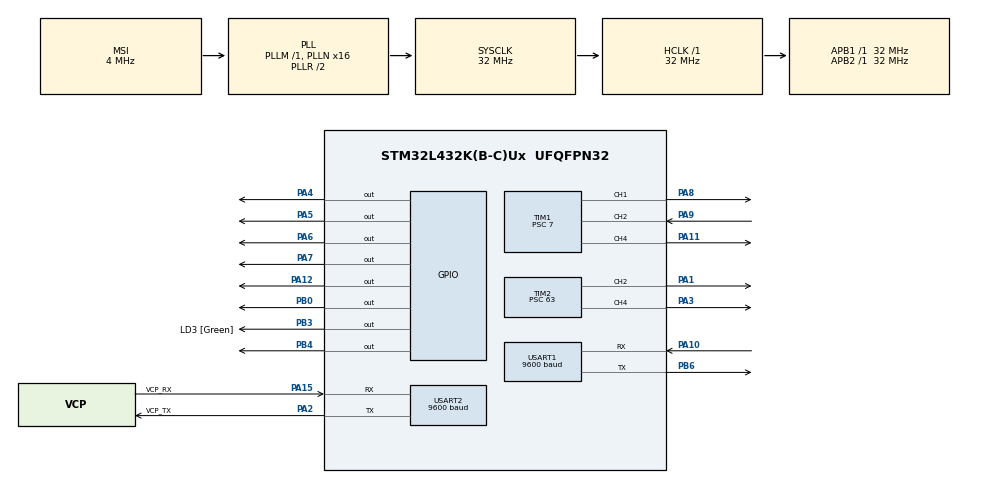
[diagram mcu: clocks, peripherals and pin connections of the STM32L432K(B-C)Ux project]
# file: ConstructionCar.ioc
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Mcu.Family=STM32L4
Mcu.Name=STM32L432K(B-C)Ux
Mcu.Package=UFQFPN32
NVIC.PriorityGroup=NVIC_PRIORITYGROUP_4
NVIC.TIM1_CC_IRQn=true\:0\:0\:false\:false\:true\:true\:true\:true
NVIC.USART1_IRQn=true\:0\:0\:false\:false\:true\:true\:true\:true
NVIC.USART2_IRQn=true\:0\:0\:false\:false\:true\:true\:true\:true
PA0.GPIO_Label=MCO [High speed clock in]
PA0.Mode=HSE-External-Clock-Source-for-LittleOrca
PA0.Signal=RCC_CK_IN
PA1.Signal=S_TIM2_CH2
PA10.Mode=Asynchronous
PA10.Signal=USART1_RX
PA11.Signal=S_TIM1_CH4
PA12.Signal=GPIO_Output
PA13\ (JTMS-SWDIO).GPIO_Label=SWDIO
PA13\ (JTMS-SWDIO).Mode=Serial_Wire
PA13\ (JTMS-SWDIO).Signal=SYS_JTMS-SWDIO
PA14\ (JTCK-SWCLK).GPIO_Label=SWCLK
PA14\ (JTCK-SWCLK).Mode=Serial_Wire
PA14\ (JTCK-SWCLK).Signal=SYS_JTCK-SWCLK
PA15\ (JTDI).GPIO_Label=VCP_RX
PA15\ (JTDI).Mode=Asynchronous
PA15\ (JTDI).Signal=USART2_RX
PA2.GPIO_Label=VCP_TX
PA2.Mode=Asynchronous
PA2.Signal=USART2_TX
PA3.Signal=S_TIM2_CH4
PA4.Signal=GPIO_Output
PA5.Signal=GPIO_Output
PA6.Signal=GPIO_Output
PA7.Signal=GPIO_Output
PA8.Signal=S_TIM1_CH1
PA9.Signal=S_TIM1_CH2
PB0.Signal=GPIO_Output
PB3\ (JTDO-TRACESWO).GPIO_Label=LD3 [Green]
PB3\ (JTDO-TRACESWO).Signal=GPIO_Output
PB4\ (NJTRST).Signal=GPIO_Output
PB6.Mode=Asynchronous
PB6.Signal=USART1_TX
PC14-OSC32_IN\ (PC14).Mode=LSE-External-Oscillator
PC14-OSC32_IN\ (PC14).Signal=RCC_OSC32_IN
PC15-OSC32_OUT\ (PC15).Mode=LSE-External-Oscillator
PC15-OSC32_OUT\ (PC15).Signal=RCC_OSC32_OUT
ProjectManager.HeapSize=0x200
ProjectManager.StackSize=0x400
ProjectManager.TargetToolchain=MDK-ARM V5.32
RCC.AHBFreq_Value=32000000
RCC.APB1Freq_Value=32000000
RCC.APB1TimFreq_Value=32000000
RCC.APB2Freq_Value=32000000
RCC.APB2TimFreq_Value=32000000
RCC.CortexFreq_Value=32000000
RCC.HCLKFreq_Value=32000000
RCC.HSE_VALUE=8000000
RCC.HSI16_VALUE=16000000
RCC.HSI48_VALUE=48000000
RCC.HSI_VALUE=16000000
RCC.MSI_VALUE=4000000
RCC.PLLMUL=RCC_PLLMUL_4
RCC.PLLN=16
RCC.SYSCLKFreq_VALUE=32000000
RCC.SYSCLKSource=RCC_SYSCLKSOURCE_PLLCLK
RCC.VCOOutputFreq_Value=64000000
SH.S_TIM1_CH1.0=TIM1_CH1,PWM Generation1 CH1
SH.S_TIM1_CH2.0=TIM1_CH2,Input_Capture2_from_TI2
SH.S_TIM1_CH4.0=TIM1_CH4,PWM Generation4 CH4
SH.S_TIM2_CH2.0=TIM2_CH2,PWM Generation2 CH2
SH.S_TIM2_CH4.0=TIM2_CH4,PWM Generation4 CH4
TIM1.Channel-Input_Capture2_from_TI2=TIM_CHANNEL_2
TIM1.Channel-PWM\ Generation1\ CH1=TIM_CHANNEL_1
TIM1.Channel-PWM\ Generation4\ CH4=TIM_CHANNEL_4
TIM1.Prescaler=7
TIM2.Channel-PWM\ Generation2\ CH2=TIM_CHANNEL_2
TIM2.Channel-PWM\ Generation4\ CH4=TIM_CHANNEL_4
TIM2.Period=10000-1
TIM2.Prescaler=63
USART1.BaudRate=9600
USART1.VirtualMode-Asynchronous=VM_ASYNC
USART2.BaudRate=9600
USART2.VirtualMode-Asynchronous=VM_ASYNC
VP_TIM1_VS_ClockSourceINT.Mode=Internal
VP_TIM2_VS_ClockSourceINT.Mode=Internal
board=NUCLEO-L432KC

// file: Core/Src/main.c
/* USER CODE BEGIN Header */
/**
  ******************************************************************************
  * @file           : main.c
  * @brief          : Main program body
  ******************************************************************************
  * @attention
  *
  * Copyright (c) 2024 STMicroelectronics.
  * All rights reserved.
  *
  * This software is licensed under terms that can be found in the LICENSE file
  * in the root directory of this software component.
  * If no LICENSE file comes with this software, it is provided AS-IS.
  *
  ******************************************************************************
  */
/* USER CODE END Header */
#include "main.h"

TIM_HandleTypeDef htim1;
TIM_HandleTypeDef htim2;

UART_HandleTypeDef huart1;
UART_HandleTypeDef huart2;

/* USER CODE BEGIN PV */
uint8_t direction = 'x';
uint8_t honk = 0;
volatile uint8_t flag =0;
 uint8_t claw;
 volatile uint8_t claw_flag;
/* USER CODE END PV */

void SystemClock_Config(void);
static void MX_GPIO_Init(void);
static void MX_TIM1_Init(void);
static void MX_TIM2_Init(void);
static void MX_USART1_UART_Init(void);
static void MX_USART2_UART_Init(void);
/* USER CODE BEGIN PFP */
void delay_micro (int time)
{
	__HAL_TIM_SET_COUNTER(&htim1,0);
	while (__HAL_TIM_GET_COUNTER(&htim1) < time);
}
/* USER CODE END PFP */

/* USER CODE BEGIN 0 */

void moveLeft(){
	HAL_GPIO_WritePin(GPIOA,GPIO_PIN_12,GPIO_PIN_SET);
	HAL_GPIO_WritePin(GPIOB,GPIO_PIN_0,GPIO_PIN_RESET);
	//we can also stop tim channel 4 instead of these bottom 2
	HAL_GPIO_WritePin(GPIOA,GPIO_PIN_4,GPIO_PIN_RESET);
	HAL_GPIO_WritePin(GPIOA,GPIO_PIN_5,GPIO_PIN_RESET);
}

void moveRight(){
	HAL_GPIO_WritePin(GPIOA,GPIO_PIN_12,GPIO_PIN_RESET);
	HAL_GPIO_WritePin(GPIOB,GPIO_PIN_0,GPIO_PIN_RESET);
	//we can also stop tim channel 1 instead of resetting these top 2
	HAL_GPIO_WritePin(GPIOA,GPIO_PIN_4,GPIO_PIN_SET);
	HAL_GPIO_WritePin(GPIOA,GPIO_PIN_5,GPIO_PIN_RESET);
}

void moveForward(){
	HAL_GPIO_WritePin(GPIOA,GPIO_PIN_12,GPIO_PIN_SET);
	HAL_GPIO_WritePin(GPIOB,GPIO_PIN_0,GPIO_PIN_RESET);
	HAL_GPIO_WritePin(GPIOA,GPIO_PIN_4,GPIO_PIN_SET);
	HAL_GPIO_WritePin(GPIOA,GPIO_PIN_5,GPIO_PIN_RESET);
}

void moveBackward(){
	HAL_GPIO_WritePin(GPIOA,GPIO_PIN_12,GPIO_PIN_RESET);
	HAL_GPIO_WritePin(GPIOB,GPIO_PIN_0,GPIO_PIN_SET);
	HAL_GPIO_WritePin(GPIOA,GPIO_PIN_4,GPIO_PIN_RESET);
	HAL_GPIO_WritePin(GPIOA,GPIO_PIN_5,GPIO_PIN_SET);
}

void moveStop(){ //we can also stop pwm instead if we want
	HAL_GPIO_WritePin(GPIOA,GPIO_PIN_12,GPIO_PIN_RESET);
	HAL_GPIO_WritePin(GPIOB,GPIO_PIN_0,GPIO_PIN_RESET);
	HAL_GPIO_WritePin(GPIOA,GPIO_PIN_4,GPIO_PIN_RESET);
	HAL_GPIO_WritePin(GPIOA,GPIO_PIN_5,GPIO_PIN_RESET);
}

void closeClaw(){
	__HAL_TIM_SET_COMPARE(&htim2, TIM_CHANNEL_2, 250);
	HAL_Delay(500);
}

void openClaw(){
	__HAL_TIM_SET_COMPARE(&htim2, TIM_CHANNEL_2, 1250);
		HAL_Delay(500);

}

void upClaw(){

	__HAL_TIM_SET_COMPARE(&htim2, TIM_CHANNEL_4, 1000);
		HAL_Delay(500);

}

void downClaw(){
	__HAL_TIM_SET_COMPARE(&htim2, TIM_CHANNEL_4, 745);
		HAL_Delay(500);

}

/* USER CODE END 0 */

int main(void)
{

  /* MCU Configuration--------------------------------------------------------*/

  /* Reset of all peripherals, Initializes the Flash interface and the Systick. */
  HAL_Init();

  /* Configure the system clock */
  SystemClock_Config();

  /* Initialize all configured peripherals */
  MX_GPIO_Init();
  MX_TIM1_Init();
  MX_TIM2_Init();
  MX_USART1_UART_Init();
  MX_USART2_UART_Init();
  /* USER CODE BEGIN 2 */
		HAL_TIM_PWM_Start(&htim1, TIM_CHANNEL_1);
		HAL_TIM_PWM_Start(&htim2, TIM_CHANNEL_2);
		HAL_TIM_PWM_Start(&htim2, TIM_CHANNEL_4);
  __HAL_TIM_SET_COMPARE(&htim1, TIM_CHANNEL_1, 65535); //100% duty cycle (full motor power)
	HAL_TIM_PWM_Start(&htim1, TIM_CHANNEL_4);
  __HAL_TIM_SET_COMPARE(&htim1, TIM_CHANNEL_4, 65535); //100% duty cycle (full motor power)
	__HAL_UART_ENABLE_IT(&huart1,UART_IT_RXNE);
	__HAL_UART_ENABLE_IT(&huart2,UART_IT_RXNE);
	__HAL_TIM_SET_CAPTUREPOLARITY(&htim1, TIM_CHANNEL_2, TIM_INPUTCHANNELPOLARITY_RISING);
	HAL_TIM_Base_Start(&htim1);
	HAL_GPIO_WritePin(GPIOA, GPIO_PIN_11,GPIO_PIN_RESET);
	__HAL_TIM_SET_CAPTUREPOLARITY(&htim1, TIM_CHANNEL_2, TIM_INPUTCHANNELPOLARITY_RISING);

  /* USER CODE END 2 */

  /* Infinite loop */
  /* USER CODE BEGIN WHILE */
  while (1)
  {
		if(honk){
			HAL_GPIO_WritePin(GPIOB, GPIO_PIN_3, GPIO_PIN_SET);
						HAL_GPIO_WritePin(GPIOA, GPIO_PIN_6, GPIO_PIN_SET);

		}
		else{
					HAL_GPIO_WritePin(GPIOB, GPIO_PIN_3, GPIO_PIN_RESET);
					HAL_GPIO_WritePin(GPIOA, GPIO_PIN_6, GPIO_PIN_RESET);

		}
		delay_micro(1);
		HAL_GPIO_WritePin(GPIOB, GPIO_PIN_4, GPIO_PIN_SET);
		delay_micro(10);
		HAL_GPIO_TogglePin(GPIOB, GPIO_PIN_4);
		HAL_TIM_IC_Start_IT(&htim1, TIM_CHANNEL_2);
		HAL_Delay(10);

		if(flag){ //on rxne interrupt
			flag = 0;
			moveStop();
			HAL_Delay(100);
			switch(direction){
				case 'f':
					moveForward();
					break;
				case 'b':
					moveBackward();

					break;
				case 'l':
					moveLeft();

					break;
				case 'r':
					moveRight();

					break;
				case 's':
					//moveStop(); we already stopped so no real need for this
					break;
			}
		}
		if(claw_flag){
			switch(direction){
				case 'u':
					upClaw();
					break;
				case 'd':
					downClaw();
					break;
				case 'o':
					openClaw();
					break;
				case 'c':
					closeClaw();
					break;
				case 's':
					//moveStop(); we already stopped so no real need for this
					break;
			}
			claw_flag =0;
		}
    /* USER CODE END WHILE */

  }
}

void SystemClock_Config(void)
{
  RCC_OscInitTypeDef RCC_OscInitStruct = {0};
  RCC_ClkInitTypeDef RCC_ClkInitStruct = {0};

  /** Configure the main internal regulator output voltage
  */
  if (HAL_PWREx_ControlVoltageScaling(PWR_REGULATOR_VOLTAGE_SCALE1) != HAL_OK)
  {
    Error_Handler();
  }

  /** Configure LSE Drive Capability
  */
  HAL_PWR_EnableBkUpAccess();
  __HAL_RCC_LSEDRIVE_CONFIG(RCC_LSEDRIVE_LOW);

  /** Initializes the RCC Oscillators according to the specified parameters
  * in the RCC_OscInitTypeDef structure.
  */
  RCC_OscInitStruct.OscillatorType = RCC_OSCILLATORTYPE_LSE|RCC_OSCILLATORTYPE_MSI;
  RCC_OscInitStruct.LSEState = RCC_LSE_ON;
  RCC_OscInitStruct.MSIState = RCC_MSI_ON;
  RCC_OscInitStruct.MSICalibrationValue = 0;
  RCC_OscInitStruct.MSIClockRange = RCC_MSIRANGE_6;
  RCC_OscInitStruct.PLL.PLLState = RCC_PLL_ON;
  RCC_OscInitStruct.PLL.PLLSource = RCC_PLLSOURCE_MSI;
  RCC_OscInitStruct.PLL.PLLM = 1;
  RCC_OscInitStruct.PLL.PLLN = 16;
  RCC_OscInitStruct.PLL.PLLP = RCC_PLLP_DIV7;
  RCC_OscInitStruct.PLL.PLLQ = RCC_PLLQ_DIV2;
  RCC_OscInitStruct.PLL.PLLR = RCC_PLLR_DIV2;
  if (HAL_RCC_OscConfig(&RCC_OscInitStruct) != HAL_OK)
  {
    Error_Handler();
  }

  /** Initializes the CPU, AHB and APB buses clocks
  */
  RCC_ClkInitStruct.ClockType = RCC_CLOCKTYPE_HCLK|RCC_CLOCKTYPE_SYSCLK
                              |RCC_CLOCKTYPE_PCLK1|RCC_CLOCKTYPE_PCLK2;
  RCC_ClkInitStruct.SYSCLKSource = RCC_SYSCLKSOURCE_PLLCLK;
  RCC_ClkInitStruct.AHBCLKDivider = RCC_SYSCLK_DIV1;
  RCC_ClkInitStruct.APB1CLKDivider = RCC_HCLK_DIV1;
  RCC_ClkInitStruct.APB2CLKDivider = RCC_HCLK_DIV1;

  if (HAL_RCC_ClockConfig(&RCC_ClkInitStruct, FLASH_LATENCY_1) != HAL_OK)
  {
    Error_Handler();
  }

  /** Enable MSI Auto calibration
  */
  HAL_RCCEx_EnableMSIPLLMode();
}

static void MX_TIM1_Init(void)
{

  TIM_ClockConfigTypeDef sClockSourceConfig = {0};
  TIM_MasterConfigTypeDef sMasterConfig = {0};
  TIM_OC_InitTypeDef sConfigOC = {0};
  TIM_IC_InitTypeDef sConfigIC = {0};
  TIM_BreakDeadTimeConfigTypeDef sBreakDeadTimeConfig = {0};

  htim1.Instance = TIM1;
  htim1.Init.Prescaler = 7;
  htim1.Init.CounterMode = TIM_COUNTERMODE_UP;
  htim1.Init.Period = 65535;
  htim1.Init.ClockDivision = TIM_CLOCKDIVISION_DIV1;
  htim1.Init.RepetitionCounter = 0;
  htim1.Init.AutoReloadPreload = TIM_AUTORELOAD_PRELOAD_DISABLE;
  if (HAL_TIM_Base_Init(&htim1) != HAL_OK)
  {
    Error_Handler();
  }
  sClockSourceConfig.ClockSource = TIM_CLOCKSOURCE_INTERNAL;
  if (HAL_TIM_ConfigClockSource(&htim1, &sClockSourceConfig) != HAL_OK)
  {
    Error_Handler();
  }
  if (HAL_TIM_PWM_Init(&htim1) != HAL_OK)
  {
    Error_Handler();
  }
  if (HAL_TIM_IC_Init(&htim1) != HAL_OK)
  {
    Error_Handler();
  }
  sMasterConfig.MasterOutputTrigger = TIM_TRGO_RESET;
  sMasterConfig.MasterOutputTrigger2 = TIM_TRGO2_RESET;
  sMasterConfig.MasterSlaveMode = TIM_MASTERSLAVEMODE_DISABLE;
  if (HAL_TIMEx_MasterConfigSynchronization(&htim1, &sMasterConfig) != HAL_OK)
  {
    Error_Handler();
  }
  sConfigOC.OCMode = TIM_OCMODE_PWM1;
  sConfigOC.Pulse = 0;
  sConfigOC.OCPolarity = TIM_OCPOLARITY_HIGH;
  sConfigOC.OCNPolarity = TIM_OCNPOLARITY_HIGH;
  sConfigOC.OCFastMode = TIM_OCFAST_DISABLE;
  sConfigOC.OCIdleState = TIM_OCIDLESTATE_RESET;
  sConfigOC.OCNIdleState = TIM_OCNIDLESTATE_RESET;
  if (HAL_TIM_PWM_ConfigChannel(&htim1, &sConfigOC, TIM_CHANNEL_1) != HAL_OK)
  {
    Error_Handler();
  }
  sConfigIC.ICPolarity = TIM_INPUTCHANNELPOLARITY_RISING;
  sConfigIC.ICSelection = TIM_ICSELECTION_DIRECTTI;
  sConfigIC.ICPrescaler = TIM_ICPSC_DIV1;
  sConfigIC.ICFilter = 0;
  if (HAL_TIM_IC_ConfigChannel(&htim1, &sConfigIC, TIM_CHANNEL_2) != HAL_OK)
  {
    Error_Handler();
  }
  if (HAL_TIM_PWM_ConfigChannel(&htim1, &sConfigOC, TIM_CHANNEL_4) != HAL_OK)
  {
    Error_Handler();
  }
  sBreakDeadTimeConfig.OffStateRunMode = TIM_OSSR_DISABLE;
  sBreakDeadTimeConfig.OffStateIDLEMode = TIM_OSSI_DISABLE;
  sBreakDeadTimeConfig.LockLevel = TIM_LOCKLEVEL_OFF;
  sBreakDeadTimeConfig.DeadTime = 0;
  sBreakDeadTimeConfig.BreakState = TIM_BREAK_DISABLE;
  sBreakDeadTimeConfig.BreakPolarity = TIM_BREAKPOLARITY_HIGH;
  sBreakDeadTimeConfig.BreakFilter = 0;
  sBreakDeadTimeConfig.Break2State = TIM_BREAK2_DISABLE;
  sBreakDeadTimeConfig.Break2Polarity = TIM_BREAK2POLARITY_HIGH;
  sBreakDeadTimeConfig.Break2Filter = 0;
  sBreakDeadTimeConfig.AutomaticOutput = TIM_AUTOMATICOUTPUT_DISABLE;
  if (HAL_TIMEx_ConfigBreakDeadTime(&htim1, &sBreakDeadTimeConfig) != HAL_OK)
  {
    Error_Handler();
  }
  HAL_TIM_MspPostInit(&htim1);

}

static void MX_TIM2_Init(void)
{

  TIM_ClockConfigTypeDef sClockSourceConfig = {0};
  TIM_MasterConfigTypeDef sMasterConfig = {0};
  TIM_OC_InitTypeDef sConfigOC = {0};

  htim2.Instance = TIM2;
  htim2.Init.Prescaler = 63;
  htim2.Init.CounterMode = TIM_COUNTERMODE_UP;
  htim2.Init.Period = 10000-1;
  htim2.Init.ClockDivision = TIM_CLOCKDIVISION_DIV1;
  htim2.Init.AutoReloadPreload = TIM_AUTORELOAD_PRELOAD_DISABLE;
  if (HAL_TIM_Base_Init(&htim2) != HAL_OK)
  {
    Error_Handler();
  }
  sClockSourceConfig.ClockSource = TIM_CLOCKSOURCE_INTERNAL;
  if (HAL_TIM_ConfigClockSource(&htim2, &sClockSourceConfig) != HAL_OK)
  {
    Error_Handler();
  }
  if (HAL_TIM_PWM_Init(&htim2) != HAL_OK)
  {
    Error_Handler();
  }
  sMasterConfig.MasterOutputTrigger = TIM_TRGO_RESET;
  sMasterConfig.MasterSlaveMode = TIM_MASTERSLAVEMODE_DISABLE;
  if (HAL_TIMEx_MasterConfigSynchronization(&htim2, &sMasterConfig) != HAL_OK)
  {
    Error_Handler();
  }
  sConfigOC.OCMode = TIM_OCMODE_PWM1;
  sConfigOC.Pulse = 0;
  sConfigOC.OCPolarity = TIM_OCPOLARITY_HIGH;
  sConfigOC.OCFastMode = TIM_OCFAST_DISABLE;
  if (HAL_TIM_PWM_ConfigChannel(&htim2, &sConfigOC, TIM_CHANNEL_2) != HAL_OK)
  {
    Error_Handler();
  }
  if (HAL_TIM_PWM_ConfigChannel(&htim2, &sConfigOC, TIM_CHANNEL_4) != HAL_OK)
  {
    Error_Handler();
  }
  HAL_TIM_MspPostInit(&htim2);

}

static void MX_USART1_UART_Init(void)
{

  huart1.Instance = USART1;
  huart1.Init.BaudRate = 9600;
  huart1.Init.WordLength = UART_WORDLENGTH_8B;
  huart1.Init.StopBits = UART_STOPBITS_1;
  huart1.Init.Parity = UART_PARITY_NONE;
  huart1.Init.Mode = UART_MODE_TX_RX;
  huart1.Init.HwFlowCtl = UART_HWCONTROL_NONE;
  huart1.Init.OverSampling = UART_OVERSAMPLING_16;
  huart1.Init.OneBitSampling = UART_ONE_BIT_SAMPLE_DISABLE;
  huart1.AdvancedInit.AdvFeatureInit = UART_ADVFEATURE_NO_INIT;
  if (HAL_UART_Init(&huart1) != HAL_OK)
  {
    Error_Handler();
  }

}

static void MX_USART2_UART_Init(void)
{

  huart2.Instance = USART2;
  huart2.Init.BaudRate = 9600;
  huart2.Init.WordLength = UART_WORDLENGTH_8B;
  huart2.Init.StopBits = UART_STOPBITS_1;
  huart2.Init.Parity = UART_PARITY_NONE;
  huart2.Init.Mode = UART_MODE_TX_RX;
  huart2.Init.HwFlowCtl = UART_HWCONTROL_NONE;
  huart2.Init.OverSampling = UART_OVERSAMPLING_16;
  huart2.Init.OneBitSampling = UART_ONE_BIT_SAMPLE_DISABLE;
  huart2.AdvancedInit.AdvFeatureInit = UART_ADVFEATURE_NO_INIT;
  if (HAL_UART_Init(&huart2) != HAL_OK)
  {
    Error_Handler();
  }

}

static void MX_GPIO_Init(void)
{
  GPIO_InitTypeDef GPIO_InitStruct = {0};

  /* GPIO Ports Clock Enable */
  __HAL_RCC_GPIOC_CLK_ENABLE();
  __HAL_RCC_GPIOA_CLK_ENABLE();
  __HAL_RCC_GPIOB_CLK_ENABLE();

  /*Configure GPIO pin Output Level */
  HAL_GPIO_WritePin(GPIOA, GPIO_PIN_4|GPIO_PIN_5|GPIO_PIN_6|GPIO_PIN_7
                          |GPIO_PIN_12, GPIO_PIN_RESET);

  /*Configure GPIO pin Output Level */
  HAL_GPIO_WritePin(GPIOB, GPIO_PIN_0|LD3_Pin|GPIO_PIN_4, GPIO_PIN_RESET);

  /*Configure GPIO pins : PA4 PA5 PA6 PA7
                           PA12 */
  GPIO_InitStruct.Pin = GPIO_PIN_4|GPIO_PIN_5|GPIO_PIN_6|GPIO_PIN_7
                          |GPIO_PIN_12;
  GPIO_InitStruct.Mode = GPIO_MODE_OUTPUT_PP;
  GPIO_InitStruct.Pull = GPIO_NOPULL;
  GPIO_InitStruct.Speed = GPIO_SPEED_FREQ_LOW;
  HAL_GPIO_Init(GPIOA, &GPIO_InitStruct);

  /*Configure GPIO pins : PB0 LD3_Pin PB4 */
  GPIO_InitStruct.Pin = GPIO_PIN_0|LD3_Pin|GPIO_PIN_4;
  GPIO_InitStruct.Mode = GPIO_MODE_OUTPUT_PP;
  GPIO_InitStruct.Pull = GPIO_NOPULL;
  GPIO_InitStruct.Speed = GPIO_SPEED_FREQ_LOW;
  HAL_GPIO_Init(GPIOB, &GPIO_InitStruct);

}

void Error_Handler(void)
{
  __disable_irq();
  while (1)
  {
  }
}
